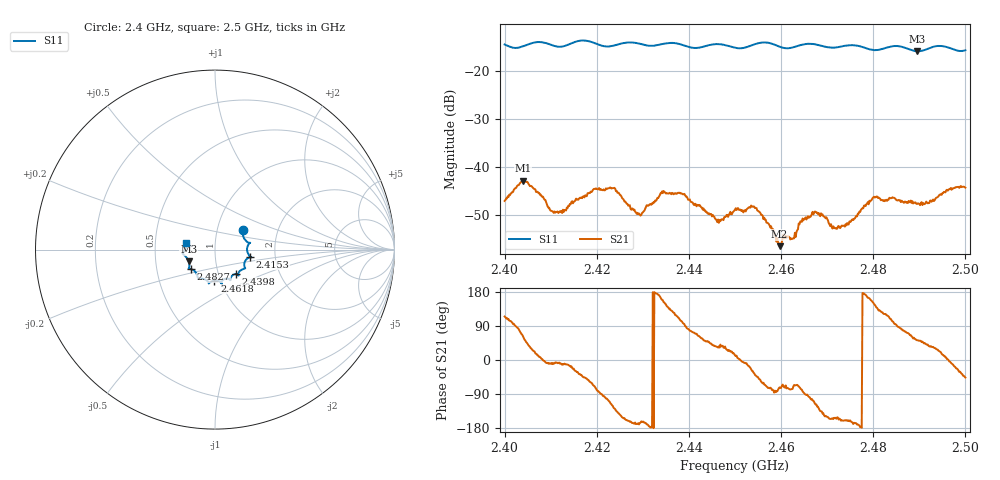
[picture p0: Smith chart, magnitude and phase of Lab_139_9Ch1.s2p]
# Hz S RI R 50
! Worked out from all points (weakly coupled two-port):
!   601 points, 2.4 GHz to 2.5 GHz, reference 50 ohm
!   highest |S21| = -42.77 dB at 2.404 GHz (marker M1); lowest = -56.4 dB at 2.4597 GHz (marker M2)
!   lowest |S11| = -15.9 dB at 2.4895 GHz (marker M3), VSWR 1.38, Z = 37 - j5.02 ohm
!   |S11| at or under -10 dB: start of sweep to end of sweep
!   S12 and S22 are empty: the file has one direction only
!   S11 on the Smith chart (normalised r, x): 2.4 GHz: 1.33, +0.29; 2.4153 GHz: 1.48, -0.12; 2.4398 GHz: 1.21, -0.34; 2.4618 GHz: 0.94, -0.33; 2.4827 GHz: 0.75, -0.17; 2.5 GHz: 0.72, +0.06
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2.4e9  0.1551 0.1069  -0.00187 0.00406  0 0  0 0
2.404e9  0.1738 0.0472  0.0034 0.00643  0 0  0 0
2.4105e9  0.1827 0.0214  0.00343 -0.000506  0 0  0 0
2.415333e9  0.1968 -0.0389  0.00397 -0.00216  0 0  0 0
2.416667e9  0.2027 -0.0431  0.00377 -0.00308  0 0  0 0
2.4235e9  0.1627 -0.0825  -0.00318 -0.00516  0 0  0 0
2.429167e9  0.1605 -0.1068  -0.00326 -0.000578  0 0  0 0
2.433333e9  0.1296 -0.1341  -0.00474 0.000645  0 0  0 0
2.434667e9  0.1289 -0.1426  -0.00484 0.00264  0 0  0 0
2.439833e9  0.1151 -0.136  0.00065 0.00454  0 0  0 0
2.446333e9  0.0846 -0.1703  0.00241 0.00155  0 0  0 0
2.45e9  0.0653 -0.162  0.00354 0.000767  0 0  0 0
2.454333e9  0.0357 -0.1867  0.00292 -0.00238  0 0  0 0
2.459667e9  0.0248 -0.1771  0.000459 -0.00144  0 0  0 0
2.461833e9  -0.00321 -0.1729  0.00042 -0.00182  0 0  0 0
2.466667e9  -0.0346 -0.1881  -0.000712 -0.00318  0 0  0 0
2.472333e9  -0.0738 -0.1604  -0.00214 -0.00114  0 0  0 0
2.480333e9  -0.1125 -0.12  -0.004 0.00274  0 0  0 0
2.482667e9  -0.1349 -0.1088  -0.00238 0.00388  0 0  0 0
2.483333e9  -0.1402 -0.1083  -0.00194 0.00418  0 0  0 0
2.4895e9  -0.146 -0.0661  0.00255 0.00329  0 0  0 0
2.5e9  -0.1594 0.0391  0.00424 -0.00444  0 0  0 0
